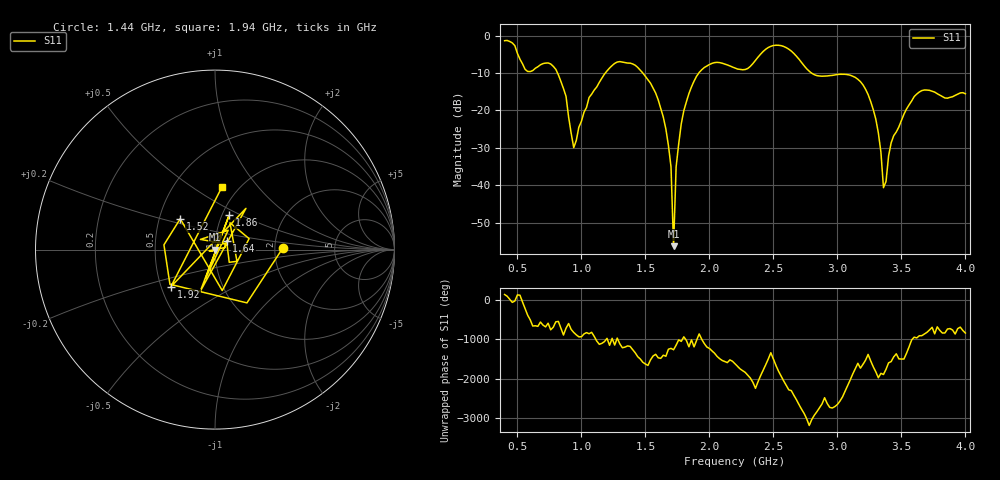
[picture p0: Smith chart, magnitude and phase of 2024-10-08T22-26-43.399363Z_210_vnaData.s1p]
! Created with skrf (http://scikit-rf.org).
# Hz S RI R 50.0
!freq ReS11 ImS11
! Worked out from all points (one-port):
!   181 points, 400 MHz to 4 GHz, reference 50 ohm
!   lowest |S11| = -56.3 dB at 1.72 GHz (marker M1), VSWR 1.00, Z = 49.8 + j0.00695 ohm
!   |S11| at or under -10 dB: 813.6 MHz to 1.186 GHz (372.8 MHz wide, 37.3 % of centre); 1.48 GHz to 1.917 GHz (436.5 MHz wide, 25.7 % of centre); 2.798 GHz to end of sweep
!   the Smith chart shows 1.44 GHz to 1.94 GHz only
!   S11 on the Smith chart (normalised r, x): 1.44 GHz: 2.21, +0.03; 1.52 GHz: 0.64, +0.24; 1.64 GHz: 1.13, +0.11; 1.86 GHz: 1.08, +0.43; 1.92 GHz: 0.56, -0.26; 1.94 GHz: 0.84, +0.67
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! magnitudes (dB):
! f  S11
! 400 MHz  -1.3
! 580 MHz  -9.6
! 760 MHz  -7.6
! 860 MHz  -14.1
! 940 MHz  -29.9
! 1.06 GHz  -16.5
! 1.3 GHz  -6.9
! 1.44 GHz  -8.5
! 1.52 GHz  -11.7
! 1.64 GHz  -21.8
! 1.7 GHz  -35.0
! 1.72 GHz  -56.3
! 1.74 GHz  -35.1
! 1.76 GHz  -29.0
! 1.86 GHz  -13.7
! 1.92 GHz  -9.8
! 1.94 GHz  -9.1
! 2.2 GHz  -8.6
! 2.5 GHz  -2.6
! 2.66 GHz  -4.8
! 2.82 GHz  -10.4
! 3.1 GHz  -10.6
! 3.28 GHz  -19.7
! 3.34 GHz  -31.2
! 3.36 GHz  -40.7
! 3.42 GHz  -28.7
! 3.56 GHz  -18.5
! 4 GHz  -15.5
